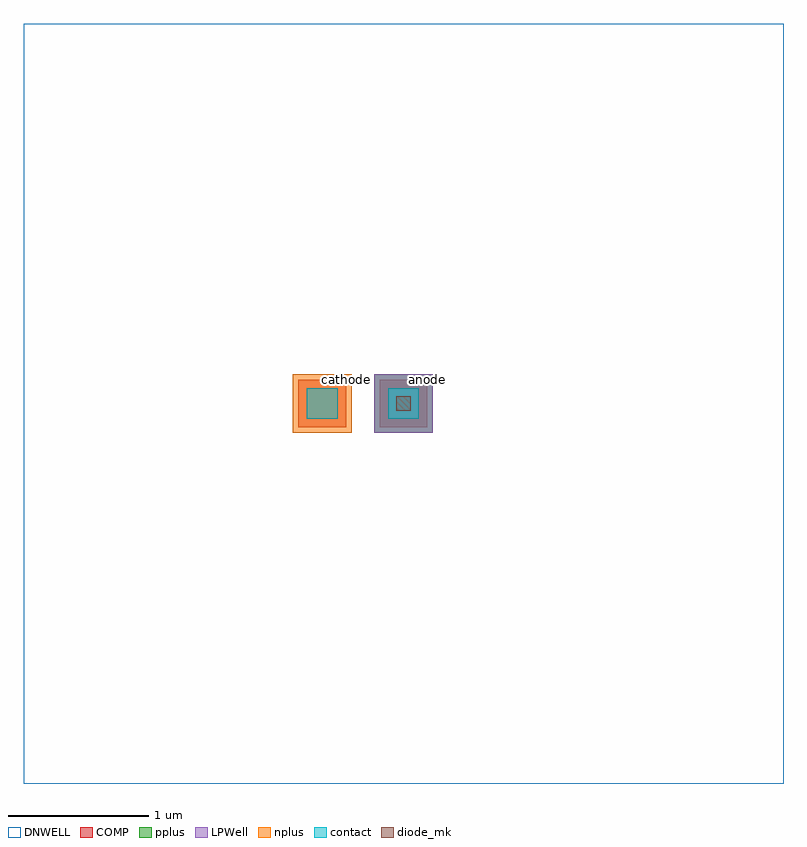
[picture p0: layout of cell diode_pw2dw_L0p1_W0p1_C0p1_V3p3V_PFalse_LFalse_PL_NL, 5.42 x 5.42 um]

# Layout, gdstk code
import gdstk
lib = gdstk.Library(unit=1e-6, precision=1e-09)
def R(c, l, rs):  # rectangles x0, y0, x1, y1
    for r in rs: c.add(gdstk.rectangle(r[:2], r[2:], *l))
DNWELL = (12, 0)
COMP = (22, 0)
pplus = (31, 0)
nplus = (32, 0)
contact = (33, 0)
diode_mk = (115, 5)
LPWell = (204, 0)

rectangle_gdsfactorypcom = lib.new_cell('rectangle_gdsfactorypcomponentspshapesprectangle_S0p1_0_050bad12')
R(rectangle_gdsfactorypcom, COMP, [(0,0,0.1,0.1)])

c_rectangle_gdsfactorypcom = lib.new_cell('rectangle_gdsfactorypcomponentspshapesprectangle_S0p420_919fc25c')
R(c_rectangle_gdsfactorypcom, pplus, [(0,0,0.42,0.42)])

c_rectangle_gdsfactorypcom_ = lib.new_cell('rectangle_gdsfactorypcomponentspshapesprectangle_S0p1_0_2b0b0111')
R(c_rectangle_gdsfactorypcom_, diode_mk, [(0,0,0.1,0.1)])

c_rectangle_gdsfactorypcom__ = lib.new_cell('rectangle_gdsfactorypcomponentspshapesprectangle_S0p420_39c71b2c')
R(c_rectangle_gdsfactorypcom__, LPWell, [(0,0,0.42,0.42)])

c_rectangle_gdsfactorypcom___ = lib.new_cell('rectangle_gdsfactorypcomponentspshapesprectangle_S0p22__bfea7709')
R(c_rectangle_gdsfactorypcom___, contact, [(0,0,0.22,0.22)])

via_generator_xr0_0p1_yr = lib.new_cell('via_generator_XR0_0p1_YR0_0p1_VS0p22_0p22_VLcontact_VE0_f40a647a')
via_generator_xr0_0p1_yr.add(gdstk.Reference(c_rectangle_gdsfactorypcom___, (-0.06,-0.06)))

c_rectangle_gdsfactorypcom____ = lib.new_cell('rectangle_gdsfactorypcomponentspshapesprectangle_S0p339_7cf635e5')
R(c_rectangle_gdsfactorypcom____, COMP, [(0,0,0.34,0.34)])

via_stack_xr0_0p1_yr0_0p = lib.new_cell('via_stack_XR0_0p1_YR0_0p1_ML1_CS0p22_0p22_CE0p07_ME0p06_19d2f936')
via_stack_xr0_0p1_yr0_0p.add(gdstk.Reference(via_generator_xr0_0p1_yr, (0,0)))
via_stack_xr0_0p1_yr0_0p.add(gdstk.Reference(c_rectangle_gdsfactorypcom____, (-0.12,-0.12)))

c_rectangle_gdsfactorypcom_____ = lib.new_cell('rectangle_gdsfactorypcomponentspshapesprectangle_S0p42__796fe76f')
R(c_rectangle_gdsfactorypcom_____, nplus, [(0,0,0.42,0.42)])

via_generator_xrm0p58_m0 = lib.new_cell('via_generator_XRm0p58_m0p48_YR0_0p1_VS0p22_0p22_VLconta_a4389baf')
via_generator_xrm0p58_m0.add(gdstk.Reference(c_rectangle_gdsfactorypcom___, (-0.64,-0.06)))

c_rectangle_gdsfactorypcom______ = lib.new_cell('rectangle_gdsfactorypcomponentspshapesprectangle_S0p34__c2af325d')
R(c_rectangle_gdsfactorypcom______, COMP, [(0,0,0.34,0.34)])

via_stack_xrm0p58_m0p48_ = lib.new_cell('via_stack_XRm0p58_m0p48_YR0_0p1_ML1_CS0p22_0p22_CE0p07__1df48106')
via_stack_xrm0p58_m0p48_.add(gdstk.Reference(via_generator_xrm0p58_m0, (0,0)))
via_stack_xrm0p58_m0p48_.add(gdstk.Reference(c_rectangle_gdsfactorypcom______, (-0.7,-0.12)))

c_rectangle_gdsfactorypcom_______ = lib.new_cell('rectangle_gdsfactorypcomponentspshapesprectangle_S5p42__09fa6709')
R(c_rectangle_gdsfactorypcom_______, DNWELL, [(0,0,5.42,5.42)])

diode_pw2dw_l0p1_w0p1_c0 = lib.new_cell('diode_pw2dw_L0p1_W0p1_C0p1_V3p3V_PFalse_LFalse_PL_NL')
diode_pw2dw_l0p1_w0p1_c0.add(gdstk.Reference(rectangle_gdsfactorypcom, (0,0)))
diode_pw2dw_l0p1_w0p1_c0.add(gdstk.Reference(c_rectangle_gdsfactorypcom, (-0.16,-0.16)))
diode_pw2dw_l0p1_w0p1_c0.add(gdstk.Reference(c_rectangle_gdsfactorypcom_, (0,0)))
diode_pw2dw_l0p1_w0p1_c0.add(gdstk.Reference(c_rectangle_gdsfactorypcom__, (-0.16,-0.16)))
diode_pw2dw_l0p1_w0p1_c0.add(gdstk.Reference(via_stack_xr0_0p1_yr0_0p, (0,0)))
diode_pw2dw_l0p1_w0p1_c0.add(gdstk.Reference(rectangle_gdsfactorypcom, (-0.58,0)))
diode_pw2dw_l0p1_w0p1_c0.add(gdstk.Reference(c_rectangle_gdsfactorypcom_____, (-0.74,-0.16)))
diode_pw2dw_l0p1_w0p1_c0.add(gdstk.Reference(via_stack_xrm0p58_m0p48_, (0,0)))
diode_pw2dw_l0p1_w0p1_c0.add(gdstk.Reference(c_rectangle_gdsfactorypcom_______, (-2.66,-2.66)))
diode_pw2dw_l0p1_w0p1_c0.add(gdstk.Label('anode', (0.22,0.22), layer=34, texttype=10))
diode_pw2dw_l0p1_w0p1_c0.add(gdstk.Label('cathode', (-0.36,0.22), layer=34, texttype=10))

lib.write_gds('diode_pw2dw_L0p1_W0p1_C0p1_V3p3V_PFalse_LFalse_PL_NL.gds')
